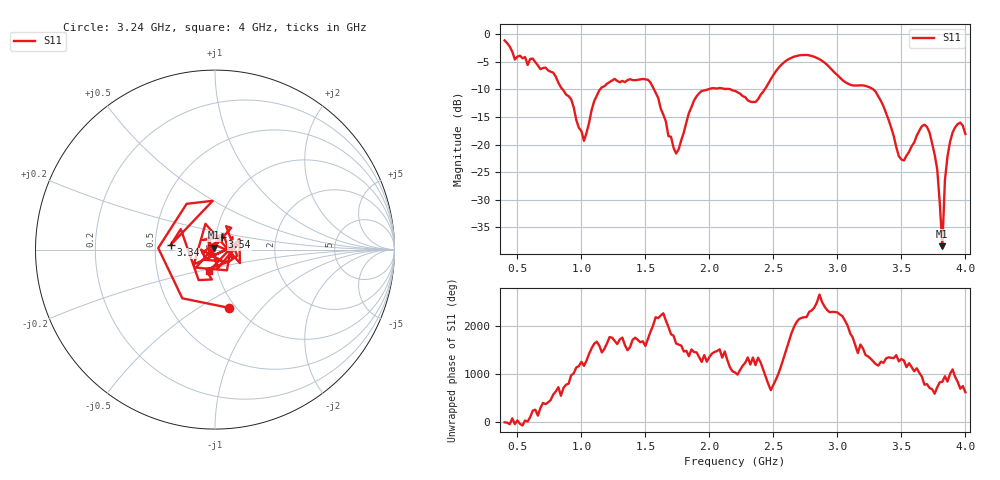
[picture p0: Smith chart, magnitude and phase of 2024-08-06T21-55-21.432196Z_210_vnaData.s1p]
!Created with skrf (http://scikit-rf.org).
# Hz S RI R 50.0
!freq ReS11 ImS11
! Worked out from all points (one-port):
!   181 points, 400 MHz to 4 GHz, reference 50 ohm
!   lowest |S11| = -38.4 dB at 3.82 GHz (marker M1), VSWR 1.02, Z = 49.5 + j1.09 ohm
!   |S11| at or under -10 dB: 853.1 MHz to 1.146 GHz (293.2 MHz wide, 29.3 % of centre); 1.567 GHz to 1.99 GHz (423.1 MHz wide, 23.8 % of centre); 3.28 GHz to end of sweep (the widest 3 of 4)
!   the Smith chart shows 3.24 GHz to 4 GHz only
!   S11 on the Smith chart (normalised r, x): 3.24 GHz: 0.93, -0.68; 3.34 GHz: 0.60, +0.03; 3.54 GHz: 1.07, +0.15; 4 GHz: 0.91, -0.22
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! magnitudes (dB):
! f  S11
! 400 MHz  -1.1
! 480 MHz  -4.6
! 620 MHz  -4.4
! 860 MHz  -10.2
! 1.02 GHz  -19.3
! 1.14 GHz  -10.2
! 1.3 GHz  -8.7
! 1.54 GHz  -8.8
! 1.68 GHz  -18.5
! 1.76 GHz  -20.9
! 1.92 GHz  -10.7
! 2.2 GHz  -10.3
! 2.36 GHz  -12.3
! 2.66 GHz  -4.1
! 3.1 GHz  -9.1
! 3.24 GHz  -9.5
! 3.34 GHz  -12.1
! 3.48 GHz  -22.1
! 3.54 GHz  -22.0
! 3.56 GHz  -21.3
! 3.66 GHz  -16.7
! 3.72 GHz  -17.8
! 3.78 GHz  -24.5
! 3.82 GHz  -38.4
! 3.84 GHz  -26.5
! 3.88 GHz  -19.5
! 3.96 GHz  -16.0
! 4 GHz  -18.1
